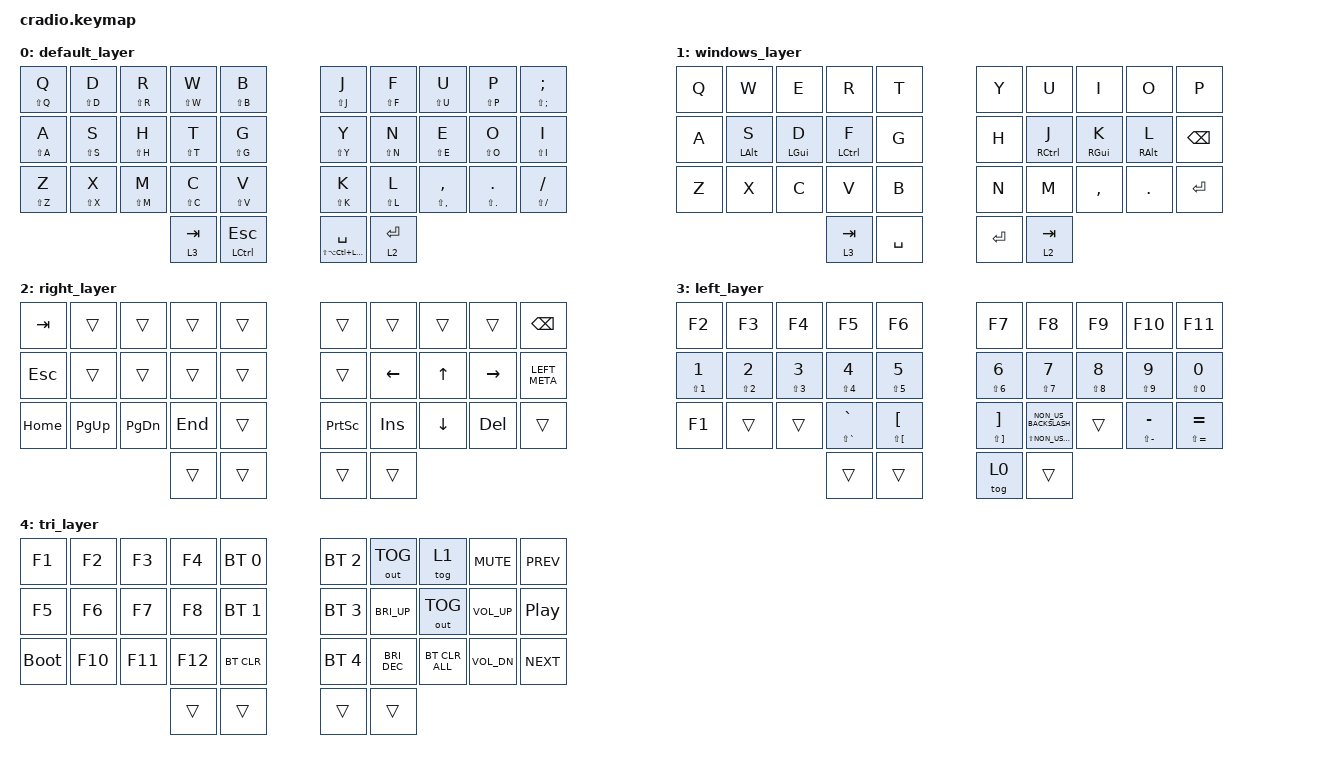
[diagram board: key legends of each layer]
// Copyright (c) 2022 The ZMK Contributors
// SPDX-License-Identifier: MIT

#define ZMK_MOUSE_DEFAULT_MOVE_VAL 2500  // 600
#define ZMK_MOUSE_DEFAULT_SCRL_VAL 20    // 10

#include <dt-bindings/zmk/mouse.h>
#include <behaviors.dtsi>
#include <dt-bindings/zmk/bt.h>
#include <dt-bindings/zmk/keys.h>
#include <dt-bindings/zmk/outputs.h>

#define MAC 0
#define WIN 1
#define RIG 2
#define LEF 3
#define TRI 4
#define MOUSE 5
#define U_MS_U &mmv MOVE_UP
#define U_MS_D &mmv MOVE_DOWN
#define U_MS_L &mmv MOVE_LEFT
#define U_MS_R &mmv MOVE_RIGHT
#define U_WH_U &msc SCRL_UP
#define U_WH_D &msc SCRL_DOWN
#define U_WH_L &msc SCRL_LEFT
#define U_WH_R &msc SCRL_RIGHT

/ {
    chosen { zmk,charmap = &charmap_us; };

    behaviors {
        ht: hold_tap {
            label = "hold_tap";
            compatible = "zmk,behavior-hold-tap";
            #binding-cells = <2>;
            flavor = "tap-preferred";
            tapping-term-ms = <200>;
            quick-tap-ms = <150>;
            global-quick-tap;
            bindings = <&kp>, <&kp>;
        };

        mmv {
            acceleration-exponent = <1>;      // 1
            time-to-max-speed-ms = <300>;    // 40
            delay-ms = <0>;                   // 0
        };

        msc {
            acceleration-exponent = <0>;      // 0
            time-to-max-speed-ms = <40>;      // 500
            delay-ms = <0>;                   // 10
        };
    };

    conditional_layers {
        compatible = "zmk,conditional-layers";

        tri_layer {
            if-layers = <2 3>;
            then-layer = <4>;
        };
    };

    keymap {
        compatible = "zmk,keymap";

        default_layer {
            bindings = <
&ht LS(Q) Q  &ht LS(D) D  &ht LS(R) R  &ht LS(W) W  &ht LS(B) B         &ht LS(J) J                 &ht LS(F) F  &ht LS(U) U          &ht LS(P) P            &ht LS(SEMICOLON) SEMICOLON
&ht LS(A) A  &ht LS(S) S  &ht LS(H) H  &ht LS(T) T  &ht LS(G) G         &ht LS(Y) Y                 &ht LS(N) N  &ht LS(E) E          &ht LS(O) O            &ht LS(I) I
&ht LS(Z) Z  &ht LS(X) X  &ht LS(M) M  &ht LS(C) C  &ht LS(V) V         &ht LS(K) K                 &ht LS(L) L  &ht LS(COMMA) COMMA  &ht LS(PERIOD) PERIOD  &ht LS(SLASH) SLASH
                                       &lt 3 TAB    &mt LCTRL ESCAPE    &mt LS(LA(LC(LGUI))) SPACE  &lt 2 ENTER
            >;
        };

        windows_layer {
            bindings = <
&kp Q  &kp W       &kp E       &kp R        &kp T        &kp Y      &kp U        &kp I       &kp O       &kp P
&kp A  &ht LALT S  &ht LGUI D  &ht LCTRL F  &kp G        &kp H      &ht RCTRL J  &ht RGUI K  &ht RALT L  &kp BSPC
&kp Z  &kp X       &kp C       &kp V        &kp B        &kp N      &kp M        &kp COMMA   &kp DOT     &kp ENTER
                               &lt 3 TAB    &kp SPACE    &kp ENTER  &lt 2 TAB
            >;
        };

        right_layer {
            bindings = <
&kp TAB     &trans       &trans         &trans   &trans    &trans           &trans    &trans    &trans      &kp BACKSPACE
&kp ESCAPE  &trans       &trans         &trans   &trans    &trans           &kp LEFT  &kp UP    &kp RIGHT   &kp LEFT_META
&kp HOME    &kp PAGE_UP  &kp PAGE_DOWN  &kp END  &trans    &kp PRINTSCREEN  &kp INS   &kp DOWN  &kp DELETE  &trans
                                        &trans   &trans    &trans           &trans
            >;
        };

        left_layer {
            bindings = <
&kp F2                     &kp F3                     &kp F4                     &kp F5                     &kp F6                               &kp F7                               &kp F8                                     &kp F9                     &kp F10                    &kp F11
&ht LS(NUMBER_1) NUMBER_1  &ht LS(NUMBER_2) NUMBER_2  &ht LS(NUMBER_3) NUMBER_3  &ht LS(NUMBER_4) NUMBER_4  &ht LS(NUMBER_5) NUMBER_5            &ht LS(NUMBER_6) NUMBER_6            &ht LS(NUMBER_7) NUMBER_7                  &ht LS(NUMBER_8) NUMBER_8  &ht LS(NUMBER_9) NUMBER_9  &ht LS(NUMBER_0) NUMBER_0
&kp F1                     &trans                     &trans                     &ht LS(GRAVE) GRAVE        &ht LS(LEFT_BRACKET) LEFT_BRACKET    &ht LS(RIGHT_BRACKET) RIGHT_BRACKET  &ht LS(NON_US_BACKSLASH) NON_US_BACKSLASH  &trans                     &ht LS(MINUS) MINUS        &ht LS(EQUAL) EQUAL
                                                                                 &trans                     &trans                               &tog 0                               &trans
            >;
        };

        tri_layer {
            bindings = <
&kp F1       &kp F2   &kp F3   &kp F4   &bt BT_SEL 0    &bt BT_SEL 2  &out OUT_TOG   &tog 1          &kp C_MUTE    &kp C_PREV
&kp F5       &kp F6   &kp F7   &kp F8   &bt BT_SEL 1    &bt BT_SEL 3  &kp C_BRI_UP   &out OUT_TOG    &kp C_VOL_UP  &kp C_PP
&bootloader  &kp F10  &kp F11  &kp F12  &bt BT_CLR      &bt BT_SEL 4  &kp C_BRI_DEC  &bt BT_CLR_ALL  &kp C_VOL_DN  &kp C_NEXT
                               &trans   &trans          &trans        &trans
            >;
        };
    };
};
